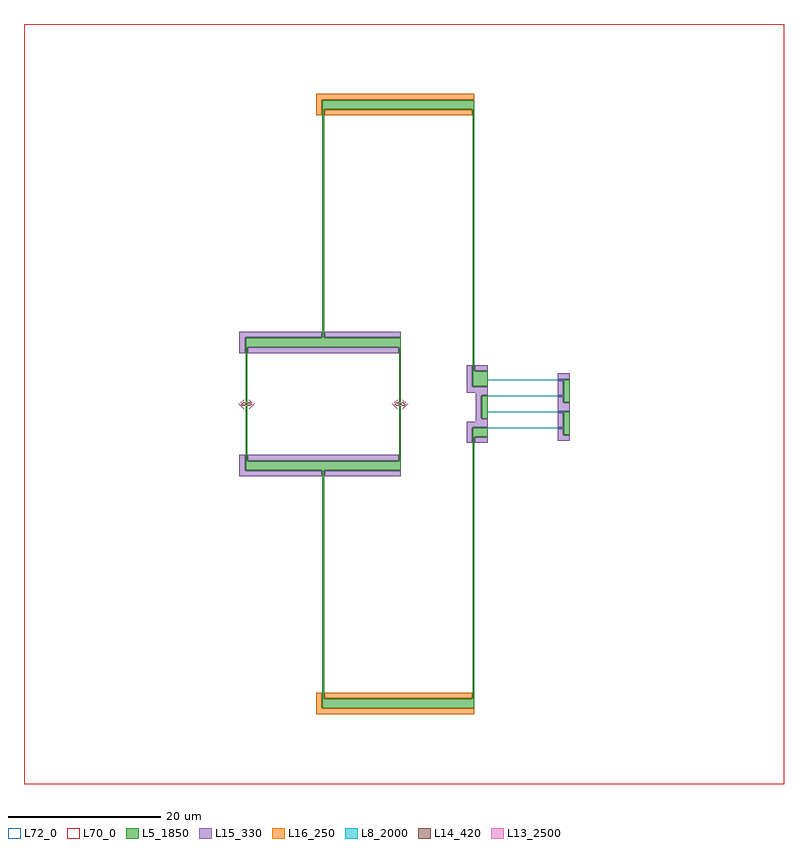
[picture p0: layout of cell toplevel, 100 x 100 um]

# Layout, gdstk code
from math import pi, radians
import gdstk
lib = gdstk.Library(unit=1e-6, precision=1e-09)
def R(c, l, rs):  # rectangles x0, y0, x1, y1
    for r in rs: c.add(gdstk.rectangle(r[:2], r[2:], *l))
def P(c, l, *ps):  # polygons
    for p in ps: c.add(gdstk.Polygon(p, *l))
L5_1850 = (5, 1850)
L8_2000 = (8, 2000)
L13_2500 = (13, 2500)
L14_420 = (14, 420)
L15_330 = (15, 330)
L16_250 = (16, 250)
L70_0 = (70, 0)
L72_0 = (72, 0)

rectangle023 = lib.new_cell('rectangle023')
R(rectangle023, L5_1850, [(0,0,0.2,1.8)])

jj_top = lib.new_cell('JJ Top')
jj_top.add(gdstk.Reference(rectangle023, (-0.1,0.2)))

rectangle024 = lib.new_cell('rectangle024')
R(rectangle024, L5_1850, [(0,0,0.2,1.8)])

jj_bot = lib.new_cell('JJ Bot')
jj_bot.add(gdstk.Reference(rectangle024, (-0.1,-2)))

rectangle025 = lib.new_cell('rectangle025')
R(rectangle025, L5_1850, [(0,0,0.22,5.5)])

top_arm = lib.new_cell('Top Arm')
top_arm.add(gdstk.Reference(rectangle025, (-0.11,2)))

rectangle026 = lib.new_cell('rectangle026')
R(rectangle026, L5_1850, [(0,0,0.22,5.5)])

bot_arm = lib.new_cell('Bot Arm')
bot_arm.add(gdstk.Reference(rectangle026, (-0.11,-7.5)))

junction = lib.new_cell('Junction')
junction.add(gdstk.Reference(jj_top, (0,0)))
junction.add(gdstk.Reference(jj_bot, (0,0)))
junction.add(gdstk.Reference(top_arm, (0,0)))
junction.add(gdstk.Reference(bot_arm, (0,0)))

rectangle027 = lib.new_cell('rectangle027')
P(rectangle027, L13_2500, [(0.376,0.563),(0.8,0.139),(0.736,0.075),(0.312,0.499)])

rectangle028 = lib.new_cell('rectangle028')
P(rectangle028, L13_2500, [(0.376,0.663),(1.1,-0.061),(1.036,-0.125),(0.312,0.599)])

boolean029 = lib.new_cell('boolean029')
P(boolean029, L14_420, [(-0.2,-0.125),(0.2,-0.125),(0.2,-0.25),(0.52,-0.25),(0.7,-0.07),(0.7,-0.03),(0.42,0.25),(0.2,0.25),(0.2,0.125),(-0.2,0.125),(-0.2,0.25),(-0.42,0.25),(-0.7,-0.03),(-0.7,-0.07),(-0.52,-0.25),(-0.2,-0.25)])

h_undercut_with_asymmetr = lib.new_cell('H undercut with asymmetric s')
h_undercut_with_asymmetr.add(gdstk.Reference(rectangle027, (0,0)))
h_undercut_with_asymmetr.add(gdstk.Reference(rectangle028, (0,0), x_reflection=True))
h_undercut_with_asymmetr.add(gdstk.Reference(rectangle027, (0,0), rotation=pi, x_reflection=True))
h_undercut_with_asymmetr.add(gdstk.Reference(rectangle028, (0,0), rotation=pi))
h_undercut_with_asymmetr.add(gdstk.Reference(boolean029, (0,0)))

josephson_junction = lib.new_cell('Josephson Junction')
josephson_junction.add(gdstk.Reference(junction, (0,0)))
josephson_junction.add(gdstk.Reference(h_undercut_with_asymmetr, (0,0)))

rectangle032 = lib.new_cell('rectangle032')
R(rectangle032, L5_1850, [(0,0,0.2,1.8)])

jj_top031 = lib.new_cell('JJ Top031')
jj_top031.add(gdstk.Reference(rectangle032, (-0.1,0.2)))

rectangle034 = lib.new_cell('rectangle034')
R(rectangle034, L5_1850, [(0,0,0.2,1.8)])

jj_bot033 = lib.new_cell('JJ Bot033')
jj_bot033.add(gdstk.Reference(rectangle034, (-0.1,-2)))

rectangle036 = lib.new_cell('rectangle036')
R(rectangle036, L5_1850, [(0,0,0.22,5.5)])

top_arm035 = lib.new_cell('Top Arm035')
top_arm035.add(gdstk.Reference(rectangle036, (-0.11,2)))

rectangle038 = lib.new_cell('rectangle038')
R(rectangle038, L5_1850, [(0,0,0.22,5.5)])

bot_arm037 = lib.new_cell('Bot Arm037')
bot_arm037.add(gdstk.Reference(rectangle038, (-0.11,-7.5)))

junction039 = lib.new_cell('Junction039')
junction039.add(gdstk.Reference(jj_top031, (0,0)))
junction039.add(gdstk.Reference(jj_bot033, (0,0)))
junction039.add(gdstk.Reference(top_arm035, (0,0)))
junction039.add(gdstk.Reference(bot_arm037, (0,0)))

rectangle041 = lib.new_cell('rectangle041')
P(rectangle041, L13_2500, [(0.376,0.563),(0.8,0.139),(0.736,0.075),(0.312,0.499)])

rectangle042 = lib.new_cell('rectangle042')
P(rectangle042, L13_2500, [(0.376,0.663),(1.1,-0.061),(1.036,-0.125),(0.312,0.599)])

boolean043 = lib.new_cell('boolean043')
P(boolean043, L14_420, [(-0.2,-0.125),(0.2,-0.125),(0.2,-0.25),(0.52,-0.25),(0.7,-0.07),(0.7,-0.03),(0.42,0.25),(0.2,0.25),(0.2,0.125),(-0.2,0.125),(-0.2,0.25),(-0.42,0.25),(-0.7,-0.03),(-0.7,-0.07),(-0.52,-0.25),(-0.2,-0.25)])

c_h_undercut_with_asymmetr = lib.new_cell('H undercut with asymmetric s040')
c_h_undercut_with_asymmetr.add(gdstk.Reference(rectangle041, (0,0)))
c_h_undercut_with_asymmetr.add(gdstk.Reference(rectangle042, (0,0), x_reflection=True))
c_h_undercut_with_asymmetr.add(gdstk.Reference(rectangle041, (0,0), rotation=pi, x_reflection=True))
c_h_undercut_with_asymmetr.add(gdstk.Reference(rectangle042, (0,0), rotation=pi))
c_h_undercut_with_asymmetr.add(gdstk.Reference(boolean043, (0,0)))

josephson_junction030 = lib.new_cell('Josephson Junction030')
josephson_junction030.add(gdstk.Reference(junction039, (0,0)))
josephson_junction030.add(gdstk.Reference(c_h_undercut_with_asymmetr, (0,0)))

rectangle044 = lib.new_cell('rectangle044')
R(rectangle044, L5_1850, [(0,0,20.44,1.2)])

island = lib.new_cell('Island')
island.add(gdstk.Reference(rectangle044, (0,0)))

top_island = lib.new_cell('Top island')
top_island.add(gdstk.Reference(island, (-0.11,7.5)))

rectangle046 = lib.new_cell('rectangle046')
R(rectangle046, L5_1850, [(0,0,20.44,1.2)])

island045 = lib.new_cell('Island045')
island045.add(gdstk.Reference(rectangle046, (0,0)))

bot_island = lib.new_cell('Bot island')
bot_island.add(gdstk.Reference(island045, (-0.11,-8.7)))

rectangle049 = lib.new_cell('rectangle049')
R(rectangle049, L5_1850, [(0,-30.1,0.22,0)])

connector048 = lib.new_cell('Connector048')
connector048.add(gdstk.Reference(rectangle049, (0,0)))

top_connector047 = lib.new_cell('Top connector047')
top_connector047.add(gdstk.Reference(connector048, (10,38.8)))

rectangle052 = lib.new_cell('rectangle052')
R(rectangle052, L5_1850, [(0,-30.1,0.22,0)])

connector051 = lib.new_cell('Connector051')
connector051.add(gdstk.Reference(rectangle052, (0,0)))

bot_connector050 = lib.new_cell('Bot connector050')
bot_connector050.add(gdstk.Reference(connector051, (10,-38.8), x_reflection=True))

boolean055 = lib.new_cell('boolean055')
R(boolean055, L15_330, [(10.28,-9.5,20.33,-8.76), (0.17,-7.44,20.05,-6.7), (0.17,6.7,20.05,7.44), (10.28,8.76,20.33,9.5)])
P(boolean055, L15_330, [(-0.17,8.76),(9.94,8.76),(9.94,9.5),(-0.91,9.5),(-0.91,6.7),(-0.17,6.7)],
  [(9.94,-8.76),(-0.17,-8.76),(-0.17,-6.7),(-0.91,-6.7),(-0.91,-9.5),(9.94,-9.5)])

liftoff_undercut054 = lib.new_cell('Liftoff undercut054')
liftoff_undercut054.add(gdstk.Reference(boolean055, (0,0)))

liftoff_undercut053 = lib.new_cell('Liftoff undercut053')
liftoff_undercut053.add(gdstk.Reference(liftoff_undercut054, (0,0)))

squid = lib.new_cell('Squid')
squid.add(gdstk.Reference(josephson_junction, (-10.11,0)))
squid.add(gdstk.Reference(josephson_junction030, (10.11,0)))
squid.add(gdstk.Reference(top_island, (-10.11,0)))
squid.add(gdstk.Reference(bot_island, (-10.11,0)))
squid.add(gdstk.Reference(top_connector047, (-10.11,0)))
squid.add(gdstk.Reference(bot_connector050, (-10.11,0)))
squid.add(gdstk.Reference(liftoff_undercut053, (-10.11,0)))

rectangle059 = lib.new_cell('rectangle059')
R(rectangle059, L5_1850, [(-0.22,-34.49,0,0)])

rectangle058 = lib.new_cell('rectangle058')
R(rectangle058, L5_1850, [(-20,0,0,1.2)])

connector057 = lib.new_cell('Connector057')
connector057.add(gdstk.Reference(rectangle058, (0,0)))

boolean060 = lib.new_cell('boolean060')

boolean061 = lib.new_cell('boolean061')

connector056 = lib.new_cell('Connector056')
connector056.add(gdstk.Reference(rectangle059, (19.89,38.8)))
connector056.add(gdstk.Reference(connector057, (19.89,38.8)))
connector056.add(gdstk.Reference(boolean060, (19.89,38.8)))
connector056.add(gdstk.Reference(boolean061, (0,0)))

rectangle008 = lib.new_cell('rectangle008')
R(rectangle008, L5_1850, [(0,0,0.8,2.22)])

rectangle009 = lib.new_cell('rectangle009')
R(rectangle009, L5_1850, [(0,-0.8,0.8,0)])

arm_connector = lib.new_cell('Arm connector')
arm_connector.add(gdstk.Reference(rectangle008, (-0.8,-4.22)))
arm_connector.add(gdstk.Reference(rectangle009, (-0.8,-4.22)))

rectangle011 = lib.new_cell('rectangle011')
R(rectangle011, L5_1850, [(0,0,0.8,2.22)])

rectangle012 = lib.new_cell('rectangle012')
R(rectangle012, L5_1850, [(0,-0.8,0.8,0)])

arm_connector010 = lib.new_cell('Arm connector010')
arm_connector010.add(gdstk.Reference(rectangle011, (10,-2.11)))
arm_connector010.add(gdstk.Reference(rectangle012, (10,-2.11)))

rectangle015 = lib.new_cell('rectangle015')
R(rectangle015, L5_1850, [(0,0,0.8,2.22)])

rectangle016 = lib.new_cell('rectangle016')
R(rectangle016, L5_1850, [(0,-0.8,0.8,0)])

arm_connector014 = lib.new_cell('Arm connector014')
arm_connector014.add(gdstk.Reference(rectangle015, (10,-6.33)))
arm_connector014.add(gdstk.Reference(rectangle016, (10,-6.33)))

arms = lib.new_cell('Arms')
arms.add(gdstk.Reference(arm_connector, (0,0)))
arms.add(gdstk.Reference(arm_connector010, (0,0)))
arms.add(gdstk.Reference(arm_connector014, (0,0)))

rectangle = lib.new_cell('rectangle')
R(rectangle, L8_2000, [(0,0,10,0.11)])

resistive_segment = lib.new_cell('Resistive segment')
resistive_segment.add(gdstk.Reference(rectangle, (0,0)))

rectangle003 = lib.new_cell('rectangle003')
R(rectangle003, L8_2000, [(0,0,10,0.11)])

resistive_segment002 = lib.new_cell('Resistive segment002')
resistive_segment002.add(gdstk.Reference(rectangle003, (0,-2.11)))

rectangle005 = lib.new_cell('rectangle005')
R(rectangle005, L8_2000, [(0,0,10,0.11)])

resistive_segment004 = lib.new_cell('Resistive segment004')
resistive_segment004.add(gdstk.Reference(rectangle005, (0,-4.22)))

rectangle007 = lib.new_cell('rectangle007')
R(rectangle007, L8_2000, [(0,0,10,0.11)])

resistive_segment006 = lib.new_cell('Resistive segment006')
resistive_segment006.add(gdstk.Reference(rectangle007, (0,-6.33)))

resistive_segments = lib.new_cell('Resistive segments')
resistive_segments.add(gdstk.Reference(resistive_segment, (0,0)))
resistive_segments.add(gdstk.Reference(resistive_segment002, (0,0)))
resistive_segments.add(gdstk.Reference(resistive_segment004, (0,0)))
resistive_segments.add(gdstk.Reference(resistive_segment006, (0,0)))

boolean = lib.new_cell('boolean')

boolean013 = lib.new_cell('boolean013')

boolean017 = lib.new_cell('boolean017')

boolean022 = lib.new_cell('boolean022')

liftoff_undercut = lib.new_cell('Liftoff undercut')
liftoff_undercut.add(gdstk.Reference(boolean, (0,0)))
liftoff_undercut.add(gdstk.Reference(boolean013, (0,0)))
liftoff_undercut.add(gdstk.Reference(boolean017, (0,0)))
liftoff_undercut.add(gdstk.Reference(boolean022, (0,0)))

rectangle018 = lib.new_cell('rectangle018')
R(rectangle018, L5_1850, [(-2,0,0,1.2)])

connector = lib.new_cell('Connector')
connector.add(gdstk.Reference(rectangle018, (0,0)))

rectangle019 = lib.new_cell('rectangle019')
R(rectangle019, L5_1850, [(-2,-0.8,0,0)])

top_connector = lib.new_cell('Top connector')
top_connector.add(gdstk.Reference(connector, (0,0)))
top_connector.add(gdstk.Reference(rectangle019, (0,0)))

rectangle021 = lib.new_cell('rectangle021')
R(rectangle021, L5_1850, [(-2,0,0,1.2)])

connector020 = lib.new_cell('Connector020')
connector020.add(gdstk.Reference(rectangle021, (0,-7.42)))

bot_connector = lib.new_cell('Bot connector')
bot_connector.add(gdstk.Reference(connector020, (0,0)))

boolean062 = lib.new_cell('boolean062')
R(boolean062, L15_330, [(19.95,-5.11,21.67,-4.37), (30.87,-3.05,31.61,-1.17), (30.87,1.17,31.61,3.05), (30.87,3.28,32.47,4.02), (19.95,4.37,21.67,5.11)])
P(boolean062, L15_330, [(21.67,-3.05),(21.67,-1.97),(20.81,-1.97),(20.81,1.17),(21.67,1.17),(21.67,2.25),(19.61,2.25),(19.61,5.11),(18.87,5.11),(18.87,1.51),(20.07,1.51),(20.07,-2.31),(18.87,-2.31),(18.87,-5.11),(19.61,-5.11),(19.61,-3.05)],
  [(31.61,0.14),(31.61,0.94),(30.87,0.94),(30.87,-0.94),(32.47,-0.94),(32.47,0.14)],
  [(32.47,-4.08),(31.61,-4.08),(31.61,-3.28),(30.87,-3.28),(30.87,-4.82),(32.47,-4.82)])

resistor = lib.new_cell('Resistor')
resistor.add(gdstk.Reference(arms, (21.67,3.11)))
resistor.add(gdstk.Reference(resistive_segments, (21.67,3.11)))
resistor.add(gdstk.Reference(liftoff_undercut, (21.67,3.11)))
resistor.add(gdstk.Reference(top_connector, (21.67,3.11)))
resistor.add(gdstk.Reference(bot_connector, (21.67,3.11)))
resistor.add(gdstk.Reference(boolean062, (0,0)))

boolean063 = lib.new_cell('boolean063')
R(boolean063, L16_250, [(0.17,-38.74,19.6,-38), (0.17,38,19.6,38.74)])
P(boolean063, L16_250, [(19.89,40.06),(19.89,40.8),(-0.91,40.8),(-0.91,38),(-0.17,38),(-0.17,40.06)],
  [(-0.91,-38),(-0.91,-40.8),(19.89,-40.8),(19.89,-40.06),(-0.17,-40.06),(-0.17,-38)])

rectangle065 = lib.new_cell('rectangle065')
R(rectangle065, L72_0, [(0,0,100,100)])

working_area = lib.new_cell('Working area')
working_area.add(gdstk.Reference(rectangle065, (-39.37,-50)))

rectangle064 = lib.new_cell('rectangle064')
R(rectangle064, L70_0, [(0,0,100,100)])

writefield = lib.new_cell('Writefield')
writefield.add(gdstk.Reference(rectangle064, (-39.37,-50)))

toplevel = lib.new_cell('toplevel')
toplevel.add(gdstk.Reference(squid, (0,0)))
toplevel.add(gdstk.Reference(connector056, (0,0)))
toplevel.add(gdstk.Reference(connector056, (0,0), x_reflection=True))
toplevel.add(gdstk.Reference(resistor, (0,0)))
toplevel.add(gdstk.Reference(boolean063, (0,0)))
toplevel.add(gdstk.Reference(working_area, (0,0)))
toplevel.add(gdstk.Reference(writefield, (0,0)))

lib.write_gds('toplevel.gds')
